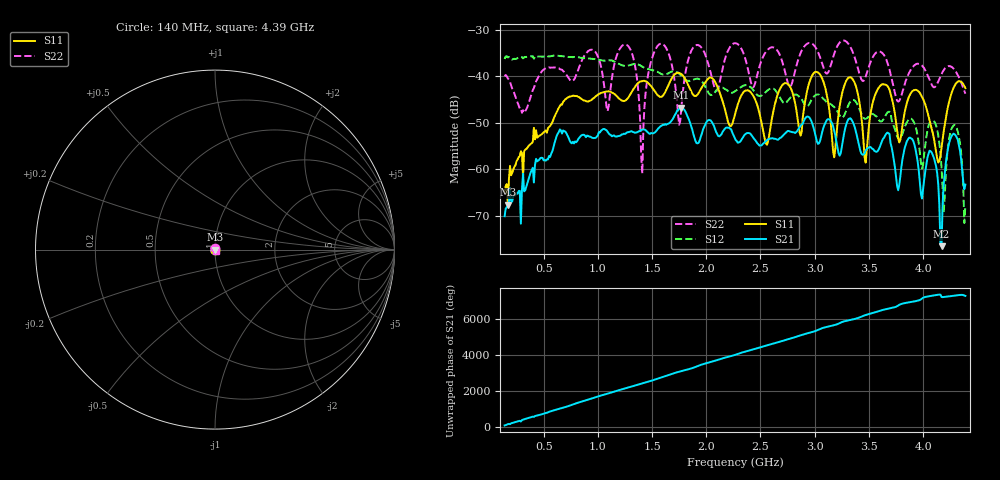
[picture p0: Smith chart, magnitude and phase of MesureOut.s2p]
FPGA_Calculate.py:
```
# this file used accumulate method

import time
import threading
import struct
import sys

import numpy as np
import pylab as pl
import math
import skrf
from skrf import Network, Frequency
from scipy import signal
from VNACalibrate import OnePortCreatIdealFile ,OnePortCreatMesureFile,Cal_Display
from VNADataRequest import  VNA_DEV as VNA
#  22.5527dbm.  3V 50R 对应的功率
DBM_3V = 13.523
vna = VNA()

###****************##########
fs = 24  # 采样频率
N = 4080  # 采样点数
N_HALF = 1200  #
DISPLAY_MODE = 0  # 1 wave, 0 spectrum
CALIBRATION_MODE = True
df = fs / (N - 1)  # 分辨率

PORT_SEL = 0 # 0: Port1 ,  1 : port2
REFLECT_SEL = 0 # 0: Port1 Reflect,   1: Port2 Reflect
IDEAL_FILE_PAHT = 'measured/ideal/'
MESURE_FILE_PAHT = 'measured/'

def PrintMstime():
    t = time.time()
    return int(round(t * 1000))  # 毫秒级时间戳


def PrintTouchSone_1port_File(Mage, Vphs, FreqStart, FreqRate, FileName):
    MesureList = ['! %d %d %d\n'%(FreqStart, FreqStart + FreqRate * len(Mage), FreqRate)+'# MHz S MA R 50.0\n!freq ReS11 ImS11\n']
    File = open(FileName+ '.s1p', 'w')
    File.write(MesureList[0])
    for size in range(len(Mage)):
        File.write('%.4f   %.10f   %.10f \n' % (((FreqStart + FreqRate * size), Mage[size], Vphs[size])))
    File.closed

#创建 2 Port 文件
def PrintTouchSone_2port_File(Mage, Vphs, FreqStart, FreqRate, FileName, MA_Sxx):
    MesureList = ['# MHz S MA R 50.0\n']
    File = open(FileName+ '.s2p', 'w')
    File.write(MesureList[0])

    magS11 = 0
    angS11 = 0
    magS21 = 0
    angS21 = 0
    magS12 = 0
    angS12 = 0
    magS22 = 0
    angS22 = 0
    for size in range(len(Mage)):

        if(MA_Sxx == "S11"):
            magS11 =  Mage[size]
            angS11 =  Vphs[size]
        elif (MA_Sxx == "S21"):
            magS21 =  Mage[size]
            angS21 =  Vphs[size]
        elif (MA_Sxx == "S12"):
            magS12 =  Mage[size]
            angS12 =  Vphs[size]
        elif (MA_Sxx == "S22"):
            magS22 =  Mage[size]
            angS22 =  Vphs[size]

        MesureList.append('%.4f   %.8f   %.4f    %.8f   %.4f    %.8f   %.4f    %.8f   %.4f \n' % (((FreqStart + FreqRate * size),magS11,angS11,magS21,angS21, magS12 ,angS12 ,magS22, angS22 )))
        File.write(MesureList[size + 1])
    File.closed

##计算幅度和相位, 并转换到360度
def CalImagePhase(I_ACC_Value,Q_ACC_Value):
    #print('I_ACC: %3.6f , Q_ACC: %3.6f ' % (I_ACC_Value, Q_ACC_Value))
    Phase= math.atan(Q_ACC_Value / I_ACC_Value)
    Image = np.abs(I_ACC_Value * 2 / math.cos(Phase) / N / 0x20000)
    #Image = math.sqrt( math.pow(I_ACC_Value/ N / 0x20000,2) + math.pow(Q_ACC_Value/ N / 0x20000,2) )
    PhaseInDegree = Phase / math.pi * 180

    if (Q_ACC_Value >= 0 and I_ACC_Value >= 0):
        targetPhase = PhaseInDegree
    elif (Q_ACC_Value >= 0 and I_ACC_Value < 0):
        targetPhase = 180 + PhaseInDegree
    elif (Q_ACC_Value < 0 and I_ACC_Value >= 0):
        targetPhase = 360 + PhaseInDegree
    else:
        targetPhase = 180 + PhaseInDegree
    return Image ,targetPhase #

#  设置频率  活得 IQ 计算 Aagnitude and Angle
def SamplingMagAngle(Frequency):
    vna.SetRF_LO_FRQ(Frequency)
    time.sleep(0.01)
    vna.StartSamp()
    while vna.SerialPort.inWaiting() == 0:
        pass
    byte = vna.SerialPort.read(16)

    IF_I_ACC = struct.unpack('<i', byte[0:4])[0]
    IF_Q_ACC = struct.unpack('<i', byte[4:8])[0]
    IF_I_ACC_R = struct.unpack('<i', byte[8:12])[0]
    IF_Q_ACC_R = struct.unpack('<i', byte[12:16])[0]
    Image_F, PahseForward = CalImagePhase(IF_I_ACC, IF_Q_ACC)
    Image_R, PhaseReflect = CalImagePhase(IF_I_ACC_R, IF_Q_ACC_R)

    return   Image_F, PahseForward ,Image_R, PhaseReflect

#
'''
class VNA_Cal():
    def __init__(self):
        self.FrequencyStart = 140 # 目前最小频率 140Mhz
        self.FrequencyEnd = 4400  # 最大设置4400
        self.FreqSwepStep = 50
        self.PWRlevelReset = 38
'''
def VNASampling(FileName, ApplayCalibration, PortNum, S_Paramete, DisplaySampling):

    FrequencyStart = 140 # 目前最小频率 140Mhz
    FrequencyEnd = 4400  # 最大设置4400
    FreqSwepStep = 10
    PWRlevelReset = 38

    AbsYSweepForward = []
    AbsYSweepReflect = []
    SkImage = []

    PahseSweepForward = []
    PahseSweepReflect = []
    Frequency = FrequencyStart
    PWRlevel = PWRlevelReset
    vna.SetRF_PWRlevel(PWRlevel)  # set RF output level bit[5:0]
    vna.SetSamplingCKL(0)  # set sampling clock, first Byte H4

    vna.SelectPort(S_Paramete)# (1 = Port2,1 = Port Reflect)
    vna.SetRF_LO_FRQ(Frequency)

    if(ApplayCalibration is True ):
        OnePortCreatMesureFile(MESURE_FILE_PAHT, FrequencyStart, FrequencyEnd, FreqSwepStep, S_Paramete)# 提取SOL的测量文件
    #time.sleep(0,5)

    FreqRangSweep = np.arange(FrequencyStart, FrequencyEnd , FreqSwepStep)

    duty = 0
    for Frequency in FreqRangSweep:
        duty = duty + 1
        sys.stdout.write("\rSamping... %.1f %%" % ( duty/ len(FreqRangSweep) * 100))
        Image_F, PahseForward, Image_R, PhaseReflect = SamplingMagAngle(Frequency)

        #print("%.1f MHz " % Frequency, "Image_F= ", Image_F, "Image_R= ", Image_R, "\n")
        absY_F = 20 * math.log10(Image_F)  # 求傅里叶变换结果的模.  DBM_3V 3v对应的功率
        absY_R = 20 * math.log10(Image_R)

        # print('%d MHZ  %3.5f  %3.5f\n' % (Frequency, PhasePosition, targetPhase))

        AbsYSweepForward.append(absY_F)  # 幅度in dB
        PahseSweepForward.append(PahseForward)  # 相位

        AbsYSweepReflect.append(absY_R)
        SubPha = PhaseReflect - PahseForward  # 计算相位差
        if (SubPha < 0):
            SubPha = 360 + SubPha
        if (SubPha > 180):
            SubPha = (SubPha - 180) - 180
        SkImage.append(Image_R)  # skrf 幅度
        PahseSweepReflect.append(SubPha)

    #time.sleep(0.01)
    print(Frequency)
    if(DisplaySampling is True):
        pl.clf()  # 清楚画布上的内容
        pl.plot(FreqRangSweep, AbsYSweepForward)  # fist scan
        pl.plot(FreqRangSweep, AbsYSweepReflect)
        pl.title('S11 RL(dB)')
        pl.ylabel('dB')
        pl.xlabel('Frequency (MHz)')
        pl.yticks(np.arange(-60, 20, 5))
        pl.grid(axis='y', linestyle='--')
        pl.show()
        AbsYSweep = []

        pl.clf()  # 清楚画布上的内容
        # pl.plot(RangSweep,PahseSweepForward)#显示相位信息

        # SubPhase = np.subtract(np.array(PahseSweepReflect),np.array(PahseSweepForward))
        pl.plot(FreqRangSweep, PahseSweepReflect)
        pl.title('S11 RP(°)')
        pl.xlabel('Frequency (MHz)')
        pl.ylabel('°')
        pl.yticks(np.arange(-180, 200, 30))
        pl.show()

    # 创建skrf touchstone文件
    # 1 端口
    if(PortNum == 'OnePort'):
        PrintTouchSone_1port_File(SkImage, PahseSweepReflect, FrequencyStart, FreqSwepStep,FileName)

    else:
    # 2 端口
        PrintTouchSone_2port_File(SkImage, PahseSweepReflect, FrequencyStart, FreqSwepStep,FileName, 'S11')


    ## run, and apply calibration to a DUT and display
    #if ApplayCalibration is True:
     #   Cal_Display(FileName+'.s1p',  'OnePort', S_Paramete)


    Frequency = FrequencyStart
    PWRlevel = PWRlevelReset
    AbsYSweepForward = []
    AbsYSweepReflect = []
    PahseSweepForward = []
    PahseSweepReflect = []
    RangSweep = []
    SkImage = []
    vna.SetRF_PWRlevel(PWRlevel)



        # startMs = PrintMstime()



        # I_Q = np.multiply(np.array(LoSinValue),np.array( LoCosValue))






            # print(time.time())localtime
            # print(time.strftime('%Y-%m-%d %H:%M:%S', time.(time.time())))
if __name__ == '__main__':
    #display and applay calibration
    S11 = [1, 1]
    S12 = [1, 2]
    S21 = [2, 1]
    S22 = [2, 2]
    S = [S11, S12, S21, S22]
    CAL_FILE_NAME = ['S11', 'S12', 'S21', 'S22']
    i =0
    for Sparamete in S:
        VNASampling('measured/throu/MesureOut' + CAL_FILE_NAME[i], True , 'OnePort', Sparamete, False)
        i = i + 1
        print('\n')
    # four_oneports_2_twoport(s11, s12, s21, s22, *args, **kwargs)
    through = skrf.four_oneports_2_twoport( \
        skrf.Network('measured/throu/MesureOut' + CAL_FILE_NAME[0] + '.s1p'),
        skrf.Network('measured/throu/MesureOut' + CAL_FILE_NAME[1] + '.s1p'),
        skrf.Network('measured/throu/MesureOut' + CAL_FILE_NAME[2] + '.s1p'),
        skrf.Network('measured/throu/MesureOut' + CAL_FILE_NAME[3] + '.s1p') )

    through.name = 'MesureOut'
    through.write_touchstone() # save the s2p 文件

    through.plot_s_db()
    pl.show()

    Cal_Display('MesureOut.s2p',  'TwoPort', [1,1])
```
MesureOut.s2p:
!Created with skrf (http://scikit-rf.org).
# MHz S RI R 50.0
!freq ReS11 ImS11 ReS21 ImS21 ReS12 ImS12 ReS22 ImS22
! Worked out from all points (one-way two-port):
!   426 points, 140 MHz to 4.39 GHz, reference 50 ohm
!   highest |S21| = -46.77 dB at 1.77 GHz (marker M1); lowest = -76.5 dB at 4.17 GHz (marker M2)
!   lowest |S11| = -67.6 dB at 170 MHz (marker M3), VSWR 1.00, Z = 50 - j0.0418 ohm
!   |S11| at or under -10 dB: start of sweep to end of sweep
!   |S22| runs from -60.9 to -32.3 dB; largest |S21 - S12| = 0.019
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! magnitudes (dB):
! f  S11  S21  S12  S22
! 140 MHz  -64.9  -70.0  -36.3  -40.0
! 170 MHz  -67.6  -67.6  -36.0  -40.5
! 1.26 GHz  -45.1  -52.2  -37.8  -33.2
! 1.41 GHz  -41.1  -51.5  -37.9  -60.9
! 1.59 GHz  -44.4  -50.6  -39.6  -33.0
! 1.77 GHz  -39.5  -46.8  -39.9  -46.9
! 2.27 GHz  -47.7  -53.6  -43.1  -32.9
! 3.89 GHz  -43.5  -53.3  -49.1  -38.4
! 4.17 GHz  -55.3  -76.5  -59.6  -39.5
! 4.27 GHz  -43.1  -52.6  -50.9  -38.1
! 4.39 GHz  -42.5  -63.2  -67.7  -43.7
